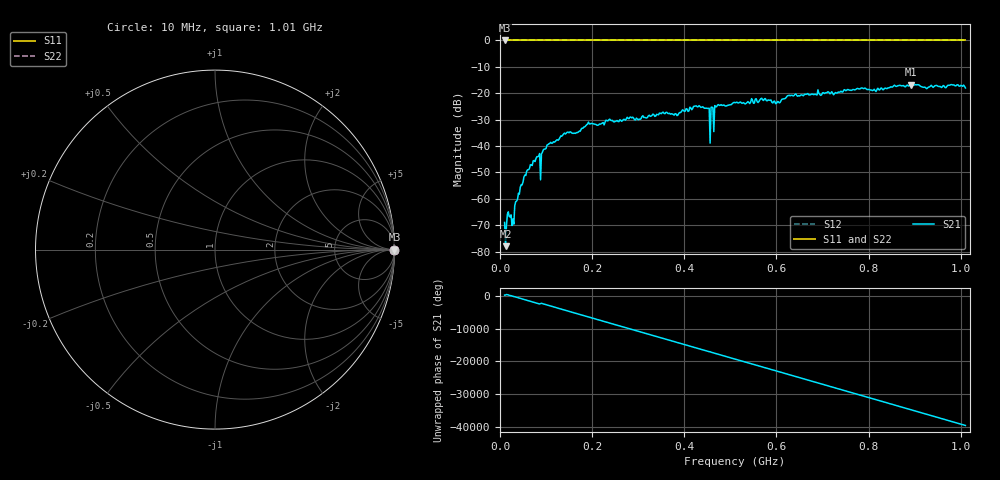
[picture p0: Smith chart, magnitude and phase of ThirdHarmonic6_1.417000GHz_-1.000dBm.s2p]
! 8/16/2025 4:16:45 PM
! C:\ANRITSUVNA\TEMP\TEMP.S2P
! CHANNEL.1
! TR.MEASUREMENT
! RAW.DATA
! RF.CORRECTION.OFF
! AVERAGING.OFF
! IF.BANDWIDTH: 5KHZ
! SWEEPTYPE:  FREQ.SWEEP(Linear)
! Reference Plane Port Info
! PORT:  PORT1  PORT2
! DISTANCE:  0  m  0  m
! TIME:  0  s  0  s
! PHASE.OFFSET:  0  deg.  0  deg.
! LOSS:  0  dB  0  dB
! REF.LOSS:  0  dB  0  dB
! REF.FREQ:  0  Hz  0  Hz
! Power Info
! POWER:  -20  dBm  -20  dBm
! EFF.POWER:  -20  dBm  -20  dBm
! SOURCE.ATTEN:  0  dB  0  dB
! TEST.ATTEN:  0  dB  0  dB
# GHZ S RI R 50.0
! FREQ.GHZ  S11RE  S11IM  S21RE  S21IM  S12RE  S12IM  S22RE  S22IM
!; PortSelection: Port_12
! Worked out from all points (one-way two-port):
!   501 points, 10 MHz to 1.01 GHz, reference 50 ohm
!   highest |S21| = -16.73 dB at 892 MHz (marker M1); lowest = -78.0 dB at 12 MHz (marker M2)
!   lowest |S11| = 0.0 dB at 10 MHz (marker M3)
!   |S11| at or under -10 dB: nowhere
!   |S22| runs from 0.0 to 0.0 dB; largest |S21 - S12| = 1.1
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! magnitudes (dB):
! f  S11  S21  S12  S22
! 10 MHz  0.0  -69.0  0.0  0.0
! 12 MHz  0.0  -78.0  0.0  0.0
! 20 MHz  0.0  -66.7  0.0  0.0
! 26 MHz  0.0  -70.1  0.0  0.0
! 50 MHz  0.0  -53.6  0.0  0.0
! 76 MHz  0.0  -45.9  0.0  0.0
! 88 MHz  0.0  -52.8  0.0  0.0
! 106 MHz  0.0  -39.2  0.0  0.0
! 178 MHz  0.0  -33.2  0.0  0.0
! 344 MHz  0.0  -28.2  0.0  0.0
! 428 MHz  0.0  -25.1  0.0  0.0
! 450 MHz  0.0  -25.8  0.0  0.0
! 452 MHz  0.0  -25.8  0.0  0.0
! 460 MHz  0.0  -25.3  0.0  0.0
! 462 MHz  0.0  -25.5  0.0  0.0
! 470 MHz  0.0  -25.1  0.0  0.0
! 510 MHz  0.0  -23.6  0.0  0.0
! 602 MHz  0.0  -23.1  0.0  0.0
! 678 MHz  0.0  -20.3  0.0  0.0
! 844 MHz  0.0  -18.0  0.0  0.0
! 892 MHz  0.0  -16.7  0.0  0.0
! 1.01 GHz  0.0  -18.0  0.0  0.0
